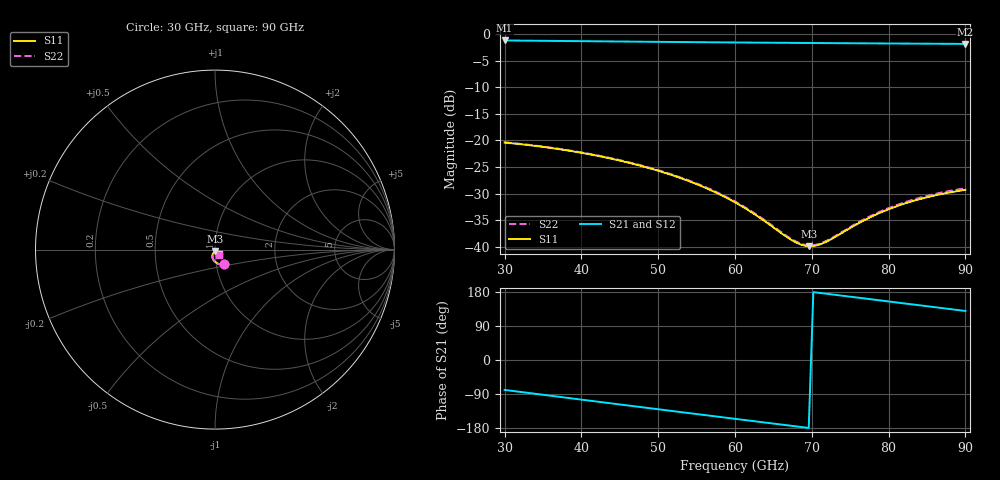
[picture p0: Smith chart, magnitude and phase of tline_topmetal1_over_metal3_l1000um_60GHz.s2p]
#  GHZ S DB R 50
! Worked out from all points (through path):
!   101 points, 30 GHz to 90 GHz, reference 50 ohm
!   highest |S21| = -1.21 dB at 30 GHz (marker M1); lowest = -1.9 dB at 90 GHz (marker M2)
!   group delay of S21, straight-line fit = 7.01 ps
!   lowest |S11| = -39.9 dB at 69.6 GHz (marker M3), VSWR 1.02, Z = 50.2 - j0.991 ohm
!   |S11| at or under -10 dB: start of sweep to end of sweep
!   |S22| runs from -39.7 to -20.4 dB; largest |S21 - S12| = 9.8e-14
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30  -20.40 -57.6  -1.21 -78.9  -1.21 -78.9  -20.35 -57.8
32.4  -20.75 -63.3  -1.24 -85.1  -1.24 -85.1  -20.70 -63.5
34.8  -21.17 -69.0  -1.27 -91.2  -1.27 -91.2  -21.11 -69.2
37.2  -21.66 -74.7  -1.31 -97.4  -1.31 -97.4  -21.59 -74.9
40.2  -22.37 -81.7  -1.35 -105.1  -1.35 -105.1  -22.30 -81.9
45  -23.78 -92.5  -1.41 -117.3  -1.41 -117.3  -23.69 -92.8
50.4  -25.87 -103.7  -1.48 -131.0  -1.48 -131.0  -25.76 -104.1
53.4  -27.32 -109.2  -1.51 -138.6  -1.51 -138.6  -27.20 -109.6
55.8  -28.68 -112.9  -1.54 -144.6  -1.54 -144.6  -28.55 -113.3
60  -31.62 -116.8  -1.59 -155.2  -1.59 -155.2  -31.47 -117.3
63  -34.29 -115.4  -1.62 -162.8  -1.62 -162.8  -34.12 -115.9
67.2  -38.56 -98.3  -1.66 -173.3  -1.66 -173.3  -38.39 -99.0
68.4  -39.46 -88.0  -1.67 -176.4  -1.67 -176.4  -39.30 -88.8
69.6  -39.86 -75.9  -1.69 -179.4  -1.69 -179.4  -39.70 -76.7
70.2  -39.83 -69.8  -1.69 179.1  -1.69 179.1  -39.68 -70.5
70.8  -39.65 -63.9  -1.70 177.6  -1.70 177.6  -39.50 -64.6
72  -38.95 -53.8  -1.71 174.6  -1.71 174.6  -38.80 -54.4
76.8  -35.01 -36.4  -1.75 162.5  -1.75 162.5  -34.82 -36.9
80.4  -32.70 -36.4  -1.78 153.5  -1.78 153.5  -32.49 -36.8
84.6  -30.82 -41.3  -1.81 143.0  -1.81 143.0  -30.57 -41.7
87  -30.03 -45.3  -1.83 136.9  -1.83 136.9  -29.76 -45.7
90  -29.28 -50.9  -1.86 129.4  -1.86 129.4  -28.99 -51.3
